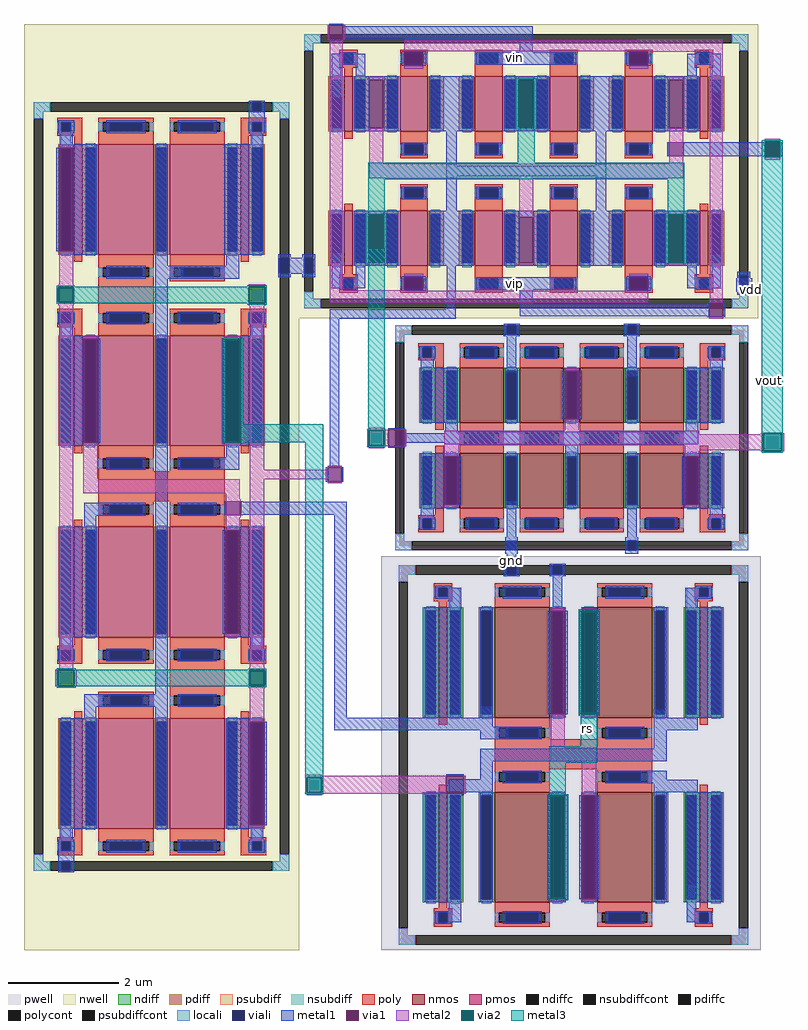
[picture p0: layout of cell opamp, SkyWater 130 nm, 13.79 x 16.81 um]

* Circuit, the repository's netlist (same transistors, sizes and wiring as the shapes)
** sch_path: /home/nsptrq/opamp/mag/opamp.sch
.subckt opamp vip vin vout rs vdd gnd
*.PININFO vip:B vin:B vout:B rs:B vdd:B gnd:B
x1 vdd net1 net2 net3 pmoscs
x2 net2 net3 rs gnd nmoscs
x3 net1 vin vip net4 vdd vout pmosout
x4 vout net4 gnd nmosout
.ends

* expanding   symbol:  pmoscs.sym # of pins=4
** sym_path: /home/nsptrq/opamp/mag/pmoscs.sym
** sch_path: /home/nsptrq/opamp/mag/pmoscs.sch
.subckt pmoscs vdd D5 D1 D2
*.PININFO vdd:B D5:B D2:B D1:B
XM1 D1 D2 vdd vdd sky130_fd_pr__pfet_01v8 L=1 W=2 nf=1 m=2
XM2 D2 D2 vdd vdd sky130_fd_pr__pfet_01v8 L=1 W=2 nf=1 m=2
XM5 D5 D2 vdd vdd sky130_fd_pr__pfet_01v8 L=1 W=2 nf=1 m=2
XM3 vdd vdd vdd vdd sky130_fd_pr__pfet_01v8 L=0.15 W=2 nf=1 m=2
XM4 D1 D1 D1 vdd sky130_fd_pr__pfet_01v8 L=0.15 W=2 nf=1 m=2
XM6 D2 D2 D2 vdd sky130_fd_pr__pfet_01v8 L=0.15 W=2 nf=1 m=2
XM7 D5 D5 D5 vdd sky130_fd_pr__pfet_01v8 L=0.15 W=2 nf=1 m=2
XM8 vdd vdd vdd vdd sky130_fd_pr__pfet_01v8 L=1 W=2 nf=1 m=2
.ends


* expanding   symbol:  nmoscs.sym # of pins=4
** sym_path: /home/nsptrq/opamp/mag/nmoscs.sym
** sch_path: /home/nsptrq/opamp/mag/nmoscs.sch
.subckt nmoscs D3 D4 rs GND
*.PININFO rs:B D3:B GND:B D4:B
XM4 D4 D3 rs GND sky130_fd_pr__nfet_01v8 L=1 W=2 nf=1 m=2
XM3 D3 D3 GND GND sky130_fd_pr__nfet_01v8 L=1 W=2 nf=1 m=2
XM1 D3 D3 D3 GND sky130_fd_pr__nfet_01v8 L=0.15 W=2 nf=1 m=2
XM2 D4 D4 D4 GND sky130_fd_pr__nfet_01v8 L=0.15 W=2 nf=1 m=2
.ends


* expanding   symbol:  pmosout.sym # of pins=6
** sym_path: /home/nsptrq/opamp/mag/pmosout.sym
** sch_path: /home/nsptrq/opamp/mag/pmosout.sch
.subckt pmosout s67 vin vip D6 vdd vout
*.PININFO vin:I vip:I vdd:B vout:B s67:B D6:B
XM6 D6 vin s67 vdd sky130_fd_pr__pfet_01v8 L=0.5 W=1 nf=1 m=4
XM7 vout vip s67 vdd sky130_fd_pr__pfet_01v8 L=0.5 W=1 nf=1 m=4
XM1 D6 D6 D6 vdd sky130_fd_pr__pfet_01v8 L=0.15 W=1 nf=1 m=2
XM2 vout vout vout vdd sky130_fd_pr__pfet_01v8 L=0.15 W=1 nf=1 m=2
.ends


* expanding   symbol:  nmosout.sym # of pins=3
** sym_path: /home/nsptrq/opamp/mag/nmosout.sym
** sch_path: /home/nsptrq/opamp/mag/nmosout.sch
.subckt nmosout vout D8 gnd
*.PININFO gnd:B vout:B D8:B
XM9 vout D8 gnd gnd sky130_fd_pr__nfet_01v8 L=0.8 W=1 nf=1 m=4
XM8 D8 D8 gnd gnd sky130_fd_pr__nfet_01v8 L=0.8 W=1 nf=1 m=4
XM1 vout vout vout gnd sky130_fd_pr__nfet_01v8 L=0.15 W=1 nf=1 m=2
XM2 D8 D8 D8 gnd sky130_fd_pr__nfet_01v8 L=0.15 W=1 nf=1 m=2
.ends

.end

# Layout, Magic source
magic
tech sky130A
magscale 1 2
<< nwell >>
rect -725 3938 255 4202
rect 1048 4076 1057 4087
rect 1042 3238 1062 3284
rect -725 842 273 1095
<< viali >>
rect 203 3296 237 3355
rect 291 3296 325 3355
rect 1027 2205 1061 2239
<< metal1 >>
rect 1048 4076 1057 4087
rect 1609 3722 1615 3774
rect 1667 3722 1964 3774
rect 2016 3722 2026 3774
rect 197 3355 243 3367
rect 285 3355 331 3367
rect 197 3296 203 3355
rect 237 3296 291 3355
rect 325 3296 331 3355
rect 197 3284 243 3296
rect 285 3284 331 3296
rect 808 3167 842 3388
rect 1042 3238 1062 3284
rect 1859 3232 1917 3281
rect 385 3133 842 3167
rect -4 2684 6 3060
rect 58 2684 68 3060
rect 385 2594 419 3133
rect 596 2731 656 2737
rect 656 2684 848 2718
rect 596 2665 656 2671
rect 370 2542 376 2594
rect 428 2542 434 2594
rect 4 2420 10 2472
rect 62 2469 68 2472
rect 62 2423 446 2469
rect 62 2420 68 2423
rect 400 1686 446 2423
rect 1027 2245 1061 2327
rect 1015 2239 1073 2245
rect 1015 2205 1027 2239
rect 1061 2205 1073 2239
rect 1015 2199 1073 2205
rect 400 1640 862 1686
rect 806 1475 871 1481
rect 806 1404 871 1410
<< via1 >>
rect 1615 3722 1667 3774
rect 1964 3722 2016 3774
rect 6 2684 58 3060
rect 596 2671 656 2731
rect 376 2542 428 2594
rect 10 2420 62 2472
rect 806 1410 871 1475
<< metal2 >>
rect 1615 3774 1667 3780
rect 1615 3716 1667 3722
rect 1962 3776 2018 3786
rect 1962 3710 2018 3720
rect 4 3060 60 3070
rect 525 2731 581 2738
rect 4 2674 60 2684
rect 523 2729 596 2731
rect 523 2673 525 2729
rect 581 2673 596 2729
rect 523 2671 596 2673
rect 656 2671 662 2731
rect 1948 2715 1957 2718
rect 525 2664 581 2671
rect 1674 2656 1957 2715
rect 1948 2652 1957 2656
rect 2023 2652 2032 2718
rect 376 2594 428 2600
rect 103 2551 376 2585
rect 376 2536 428 2542
rect 10 2472 62 2478
rect 10 2414 62 2420
rect 300 1475 356 1479
rect 296 1470 806 1475
rect 296 1414 300 1470
rect 356 1414 806 1470
rect 296 1410 806 1414
rect 871 1410 877 1475
rect 300 1405 356 1410
<< via2 >>
rect 1962 3774 2018 3776
rect 1962 3722 1964 3774
rect 1964 3722 2016 3774
rect 2016 3722 2018 3774
rect 1962 3720 2018 3722
rect 4 2684 6 3060
rect 6 2684 58 3060
rect 58 2684 60 3060
rect 525 2673 581 2729
rect 1957 2652 2023 2718
rect 300 1414 356 1470
<< metal3 >>
rect 1952 3776 2028 3781
rect 1952 3720 1962 3776
rect 2018 3720 2028 3776
rect -6 3060 70 3065
rect -6 2684 4 3060
rect 60 2750 70 3060
rect 60 2685 360 2750
rect 523 2734 583 3387
rect 60 2684 70 2685
rect -6 2679 70 2684
rect 295 1475 360 2685
rect 520 2729 586 2734
rect 520 2673 525 2729
rect 581 2673 586 2729
rect 520 2668 586 2673
rect 1952 2718 2028 3720
rect 1952 2652 1957 2718
rect 2023 2652 2028 2718
rect 1952 2647 2028 2652
rect 1302 1628 1338 1668
rect 295 1470 361 1475
rect 295 1414 300 1470
rect 356 1414 361 1470
rect 295 1409 361 1414
use nmoscs  nmoscs_0
transform 1 0 924 0 1 1628
box -353 -785 1023 644
use nmosout  nmosout_0
transform 1 0 797 0 1 2358
box -176 -77 1106 757
use pmoscs  pmoscs_0
transform 1 0 -559 0 1 1202
box -166 -107 832 2753
use pmosout  pmosout_0
transform 1 0 545 0 1 3225
box -290 -91 1394 979
<< labels >>
flabel metal3 1320 1648 1320 1648 0 FreeSans 1600 0 0 0 rs
port 0 nsew
flabel metal1 1043 2258 1043 2258 0 FreeSans 1600 0 0 0 gnd
port 1 nsew
flabel metal3 1980 2909 1980 2909 0 FreeSans 1600 0 0 0 vout
port 2 nsew
flabel metal1 1914 3241 1914 3241 0 FreeSans 1600 0 0 0 vdd
port 3 nsew
flabel metal1 1055 3262 1055 3262 0 FreeSans 1600 0 0 0 vip
port 4 nsew
flabel metal1 1053 4082 1053 4082 0 FreeSans 1600 0 0 0 vin
port 5 nsew
<< end >>

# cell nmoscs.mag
magic
tech sky130A
magscale 1 2
<< pwell >>
rect -353 -785 1023 644
<< psubdiff >>
rect -290 577 -230 611
rect 918 577 978 611
rect -290 551 -256 577
rect 944 551 978 577
rect -290 -731 -256 -705
rect 944 -731 978 -705
rect -290 -765 -230 -731
rect 918 -765 978 -731
<< psubdiffcont >>
rect -230 577 918 611
rect -290 -705 -256 551
rect 944 -705 978 551
rect -230 -765 918 -731
<< poly >>
rect 58 -129 630 -20
<< locali >>
rect -290 577 -230 611
rect 918 577 978 611
rect -290 551 -256 577
rect 944 551 978 577
rect -102 458 -68 530
rect 756 458 790 530
rect 756 -684 790 -552
rect -290 -731 -256 -705
rect 944 -731 978 -705
rect -290 -765 -230 -731
rect 918 -765 978 -731
<< viali >>
rect 270 577 304 611
<< metal1 >>
rect 258 611 316 617
rect 258 577 270 611
rect 304 577 316 611
rect 258 571 316 577
rect -108 458 -62 530
rect -196 58 -62 458
rect 270 446 304 571
rect 750 458 796 530
rect 6 58 52 98
rect 251 70 261 446
rect 313 70 323 446
rect 365 70 375 446
rect 427 70 437 446
rect -108 26 52 58
rect 636 58 682 87
rect 750 58 884 458
rect -108 12 108 26
rect 6 -20 108 12
rect 636 12 796 58
rect 636 -54 682 12
rect 6 -100 682 -54
rect 6 -166 52 -100
rect -108 -212 52 -166
rect 595 -167 682 -134
rect 595 -180 796 -167
rect -196 -612 -62 -212
rect 6 -214 52 -212
rect 636 -212 796 -180
rect 636 -213 884 -212
rect 251 -600 261 -224
rect 313 -600 323 -224
rect 365 -600 375 -224
rect 427 -600 437 -224
rect 750 -612 884 -213
rect -108 -684 -62 -612
rect 756 -684 790 -612
<< via1 >>
rect 261 70 313 446
rect 375 70 427 446
rect 261 -600 313 -224
rect 375 -600 427 -224
<< metal2 >>
rect 261 446 313 456
rect 261 -50 313 70
rect 373 446 429 456
rect 373 60 429 70
rect 261 -102 427 -50
rect 259 -224 315 -214
rect 259 -610 315 -600
rect 375 -224 427 -102
rect 375 -610 427 -600
<< via2 >>
rect 373 70 375 446
rect 375 70 427 446
rect 427 70 429 446
rect 259 -600 261 -224
rect 261 -600 313 -224
rect 313 -600 315 -224
<< metal3 >>
rect 363 446 439 451
rect 363 70 373 446
rect 429 70 439 446
rect 363 65 439 70
rect 371 -46 431 65
rect 257 -106 431 -46
rect 257 -219 317 -106
rect 249 -224 325 -219
rect 249 -600 259 -224
rect 315 -600 325 -224
rect 249 -605 325 -600
use sky130_fd_pr__nfet_01v8_7CP4KT  sky130_fd_pr__nfet_01v8_7CP4KT_0
transform 1 0 -129 0 1 289
box -73 -257 73 257
use sky130_fd_pr__nfet_01v8_7CP4KT  sky130_fd_pr__nfet_01v8_7CP4KT_1
transform 1 0 817 0 1 289
box -73 -257 73 257
use sky130_fd_pr__nfet_01v8_7CYQ2Z  sky130_fd_pr__nfet_01v8_7CYQ2Z_0
transform 1 0 -129 0 1 -443
box -73 -257 73 257
use sky130_fd_pr__nfet_01v8_7CYQ2Z  sky130_fd_pr__nfet_01v8_7CYQ2Z_1
transform 1 0 817 0 1 -443
box -73 -257 73 257
use sky130_fd_pr__nfet_01v8_8UMB6F  sky130_fd_pr__nfet_01v8_8UMB6F_0
transform 1 0 344 0 1 -412
box -344 -288 344 288
use sky130_fd_pr__nfet_01v8_8UMB6F  sky130_fd_pr__nfet_01v8_8UMB6F_1
transform 1 0 344 0 1 258
box -344 -288 344 288
<< labels >>
flabel metal1 290 566 290 566 0 FreeSans 1600 0 0 0 GND
port 0 nsew
flabel metal1 -110 124 -110 124 0 FreeSans 1600 0 0 0 D3
port 1 nsew
flabel metal1 -106 -340 -106 -340 0 FreeSans 1600 0 0 0 D4
port 2 nsew
flabel metal3 276 -210 276 -210 0 FreeSans 1600 0 0 0 RS
port 3 nsew
<< end >>

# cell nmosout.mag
magic
tech sky130A
magscale 1 2
<< pwell >>
rect -159 -48 1089 734
<< psubdiff >>
rect -176 717 -116 751
rect 1046 717 1106 751
rect -176 691 -142 717
rect 1072 691 1106 717
rect -176 -31 -142 -5
rect 1072 -31 1106 -5
rect -176 -65 -116 -31
rect 1046 -65 1106 -31
<< psubdiffcont >>
rect -116 717 1046 751
rect -176 -5 -142 691
rect 1072 -5 1106 691
rect -116 -65 1046 -31
<< poly >>
rect -92 670 0 686
rect -92 636 -76 670
rect -42 636 0 670
rect -92 624 0 636
rect 930 670 1022 686
rect 930 636 972 670
rect 1006 636 1022 670
rect 930 624 1022 636
rect -92 50 0 62
rect -92 16 -76 50
rect -42 16 0 50
rect -92 0 0 16
rect 930 50 1022 66
rect 930 16 972 50
rect 1006 16 1022 50
rect 930 0 1022 16
<< polycont >>
rect -76 636 -42 670
rect 972 636 1006 670
rect -76 16 -42 50
rect 972 16 1006 50
<< locali >>
rect -176 717 -116 751
rect 1046 717 1106 751
rect -176 691 -142 717
rect 1072 691 1106 717
rect -92 636 -76 670
rect -42 636 -26 670
rect 956 636 972 670
rect 1006 636 1022 670
rect -92 16 -76 50
rect -42 16 -26 50
rect 956 16 972 50
rect 1006 16 1022 50
rect -176 -31 -142 -5
rect 1072 -31 1106 -5
rect -176 -65 -116 -31
rect 1046 -65 1106 -31
<< viali >>
rect 230 717 264 751
rect 666 717 700 751
rect -76 636 -42 670
rect 972 636 1006 670
rect -76 16 -42 50
rect 972 16 1006 50
rect 230 -31 264 -30
rect 666 -31 700 -30
rect 230 -65 264 -31
rect 666 -65 700 -31
<< metal1 >>
rect 218 751 276 757
rect 218 717 230 751
rect 264 717 276 751
rect 218 711 276 717
rect 654 751 712 757
rect 654 717 666 751
rect 700 717 712 751
rect 654 711 712 717
rect -88 670 -30 676
rect -88 636 -76 670
rect -42 636 -30 670
rect -88 630 -30 636
rect -82 598 -36 630
rect -82 398 52 598
rect 230 581 264 711
rect 429 410 439 586
rect 491 410 501 586
rect 666 566 700 711
rect 960 670 1018 676
rect 960 636 972 670
rect 1006 636 1018 670
rect 960 630 1018 636
rect 966 598 1012 630
rect 6 366 52 398
rect 878 398 1012 598
rect 878 366 924 398
rect 6 320 924 366
rect -82 276 52 288
rect -82 100 3 276
rect 55 100 65 276
rect 442 273 488 320
rect 872 276 1012 288
rect -82 88 52 100
rect -82 56 -36 88
rect -88 50 -30 56
rect -88 16 -76 50
rect -42 16 -30 50
rect -88 10 -30 16
rect 230 -18 264 114
rect 666 -18 700 101
rect 865 100 875 276
rect 927 100 1012 276
rect 872 88 1012 100
rect 966 56 1012 88
rect 960 50 1018 56
rect 960 16 972 50
rect 1006 16 1018 50
rect 960 10 1018 16
rect 224 -30 270 -18
rect 224 -65 230 -30
rect 264 -65 270 -30
rect 224 -77 270 -65
rect 660 -30 706 -18
rect 660 -65 666 -30
rect 700 -65 706 -30
rect 660 -77 706 -65
<< via1 >>
rect 439 410 491 586
rect 3 100 55 276
rect 875 100 927 276
<< metal2 >>
rect 439 586 491 596
rect 439 369 491 410
rect 3 317 927 369
rect 3 276 55 317
rect 3 90 55 100
rect 875 276 927 317
rect 875 90 927 100
use sky130_fd_pr__nfet_01v8_6H9P4D  sky130_fd_pr__nfet_01v8_6H9P4D_1
transform 1 0 -15 0 1 188
box -73 -126 73 126
use sky130_fd_pr__nfet_01v8_6H9P4D  sky130_fd_pr__nfet_01v8_6H9P4D_2
transform 1 0 -15 0 1 498
box -73 -126 73 126
use sky130_fd_pr__nfet_01v8_6H9P4D  sky130_fd_pr__nfet_01v8_6H9P4D_3
transform 1 0 945 0 1 498
box -73 -126 73 126
use sky130_fd_pr__nfet_01v8_6H9P4D  sky130_fd_pr__nfet_01v8_6H9P4D_4
transform 1 0 945 0 1 188
box -73 -126 73 126
use sky130_fd_pr__nfet_01v8_YYNGNX  sky130_fd_pr__nfet_01v8_YYNGNX_0
transform 1 0 465 0 1 343
box -465 -343 465 343
<< labels >>
flabel metal2 900 300 900 300 0 FreeSans 1600 0 0 0 vout
port 0 nsew
flabel metal1 249 30 249 30 0 FreeSans 1600 0 0 0 gnd
port 1 nsew
flabel metal1 24 383 24 383 0 FreeSans 1600 0 0 0 D8
port 2 nsew
<< end >>

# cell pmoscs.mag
magic
tech sky130A
magscale 1 2
<< nwell >>
rect -166 -107 832 2753
<< nsubdiff >>
rect -130 2683 -70 2717
rect 736 2683 796 2717
rect -130 2657 -96 2683
rect 762 2657 796 2683
rect -130 -37 -96 -11
rect 762 -37 796 -11
rect -130 -71 -70 -37
rect 736 -71 796 -37
<< nsubdiffcont >>
rect -70 2683 736 2717
rect -130 -11 -96 2657
rect 762 -11 796 2657
rect -70 -71 736 -37
<< poly >>
rect -46 2645 46 2661
rect -46 2611 -30 2645
rect 4 2611 46 2645
rect -46 2595 46 2611
rect 16 2564 46 2595
rect 620 2645 712 2661
rect 620 2611 662 2645
rect 696 2611 712 2645
rect 620 2595 712 2611
rect 620 2588 650 2595
rect -46 1951 46 1967
rect 104 1965 304 2069
rect -46 1917 -30 1951
rect 4 1917 46 1951
rect -46 1901 46 1917
rect 16 1870 46 1901
rect 620 1951 712 1967
rect 620 1917 662 1951
rect 696 1917 712 1951
rect 620 1901 712 1917
rect 620 1870 650 1901
rect 104 1270 562 1379
rect 16 745 46 776
rect -46 729 46 745
rect -46 695 -30 729
rect 4 695 46 729
rect -46 679 46 695
rect 620 745 650 776
rect 620 729 712 745
rect 620 695 662 729
rect 696 695 712 729
rect 362 574 562 684
rect 620 679 712 695
rect 16 51 46 82
rect -46 35 46 51
rect -46 1 -30 35
rect 4 1 46 35
rect -46 -15 46 1
rect 620 51 650 82
rect 620 35 712 51
rect 620 1 662 35
rect 696 1 712 35
rect 620 -15 712 1
<< polycont >>
rect -30 2611 4 2645
rect 662 2611 696 2645
rect -30 1917 4 1951
rect 662 1917 696 1951
rect -30 695 4 729
rect 662 695 696 729
rect -30 1 4 35
rect 662 1 696 35
<< locali >>
rect -130 2683 -70 2717
rect 736 2683 796 2717
rect -130 2657 -96 2683
rect 762 2657 796 2683
rect -46 2611 -30 2645
rect 4 2611 20 2645
rect 646 2611 662 2645
rect 696 2611 712 2645
rect -30 2564 4 2611
rect 662 2566 696 2611
rect -46 1917 -30 1951
rect 4 1917 20 1951
rect 646 1917 662 1951
rect 696 1917 712 1951
rect -30 1870 4 1917
rect 662 1870 696 1917
rect -30 729 4 776
rect 662 729 696 776
rect -46 695 -30 729
rect 4 695 20 729
rect 646 695 662 729
rect 696 695 712 729
rect -30 35 4 82
rect 662 35 696 82
rect -46 1 -30 35
rect 4 1 20 35
rect 646 1 662 35
rect 696 1 712 35
rect -130 -37 -96 -11
rect 762 -37 796 -11
rect -130 -71 -70 -37
rect 736 -71 796 -37
<< viali >>
rect 662 2683 696 2717
rect -30 2611 4 2645
rect 662 2611 696 2645
rect -30 1917 4 1951
rect 662 1917 696 1951
rect -30 695 4 729
rect 662 695 696 729
rect -30 1 4 35
rect 662 1 696 35
rect -30 -71 4 -37
<< metal1 >>
rect 650 2717 708 2723
rect 650 2683 662 2717
rect 696 2683 708 2717
rect -42 2645 16 2651
rect -42 2611 -30 2645
rect 4 2611 16 2645
rect -42 2605 16 2611
rect 650 2645 708 2683
rect 650 2611 662 2645
rect 696 2611 708 2645
rect 650 2605 708 2611
rect -36 2564 10 2605
rect 656 2564 702 2605
rect -36 2552 97 2564
rect -49 2176 -39 2552
rect 13 2176 97 2552
rect -36 2164 97 2176
rect 310 2123 356 2564
rect 560 2557 702 2564
rect 560 2164 693 2557
rect 568 2123 614 2164
rect 310 2077 411 2123
rect 522 2077 614 2123
rect -42 1951 16 1957
rect -42 1917 -30 1951
rect 4 1917 16 1951
rect -42 1911 16 1917
rect -36 1870 10 1911
rect -36 1858 97 1870
rect -36 1482 49 1858
rect 101 1482 111 1858
rect -36 1470 97 1482
rect 52 1217 145 1263
rect 52 1176 97 1217
rect -36 776 97 1176
rect -36 735 10 776
rect -42 729 16 735
rect -42 695 -30 729
rect 4 695 16 729
rect -42 689 16 695
rect 310 569 356 2077
rect 650 1951 708 1957
rect 650 1917 662 1951
rect 696 1917 708 1951
rect 650 1911 708 1917
rect 656 1870 702 1911
rect 568 1470 701 1870
rect 568 1429 614 1470
rect 526 1383 614 1429
rect 568 1164 701 1176
rect 555 788 565 1164
rect 617 788 701 1164
rect 568 776 701 788
rect 656 735 702 776
rect 650 729 708 735
rect 650 695 662 729
rect 696 695 708 729
rect 650 689 708 695
rect 52 523 147 569
rect 264 523 356 569
rect 52 482 97 523
rect -36 82 97 482
rect 310 82 356 523
rect 568 470 701 482
rect 568 94 653 470
rect 705 94 715 470
rect 568 82 701 94
rect -36 41 10 82
rect 656 41 702 82
rect -42 35 16 41
rect -42 1 -30 35
rect 4 1 16 35
rect -42 -37 16 1
rect 650 35 708 41
rect 650 1 662 35
rect 696 1 708 35
rect 650 -5 708 1
rect -42 -71 -30 -37
rect 4 -71 16 -37
rect -42 -77 16 -71
<< via1 >>
rect -39 2176 13 2552
rect 49 1482 101 1858
rect 565 788 617 1164
rect 653 94 705 470
<< metal2 >>
rect -39 2552 13 2562
rect -39 2055 13 2176
rect -42 2046 14 2055
rect -42 1981 14 1990
rect 649 2048 709 2057
rect -39 658 13 1981
rect 649 1979 709 1988
rect 49 1858 101 1868
rect 49 1350 101 1482
rect 49 1298 617 1350
rect 565 1164 617 1298
rect 565 778 617 788
rect 653 665 705 1979
rect -52 598 -43 658
rect 17 598 26 658
rect 652 656 708 665
rect 652 591 708 600
rect 653 470 705 591
rect 653 84 705 94
<< via2 >>
rect -42 1990 14 2046
rect 649 1988 709 2048
rect -43 598 17 658
rect 652 600 708 656
<< metal3 >>
rect -47 2048 19 2051
rect 644 2048 714 2053
rect -47 2046 649 2048
rect -47 1990 -42 2046
rect 14 1990 649 2046
rect -47 1988 649 1990
rect 709 1988 714 2048
rect -47 1985 19 1988
rect 644 1983 714 1988
rect -48 658 22 663
rect 647 658 713 661
rect -48 598 -43 658
rect 17 656 713 658
rect 17 600 652 656
rect 708 600 713 656
rect 17 598 713 600
rect -48 593 22 598
rect 647 595 713 598
use sky130_fd_pr__pfet_01v8_2ZH9AN  sky130_fd_pr__pfet_01v8_2ZH9AN_0
transform 1 0 31 0 1 1670
box -109 -262 109 262
use sky130_fd_pr__pfet_01v8_2ZH9AN  sky130_fd_pr__pfet_01v8_2ZH9AN_1
transform 1 0 31 0 1 282
box -109 -262 109 262
use sky130_fd_pr__pfet_01v8_2ZH9AN  sky130_fd_pr__pfet_01v8_2ZH9AN_2
transform 1 0 635 0 1 282
box -109 -262 109 262
use sky130_fd_pr__pfet_01v8_2ZH9AN  sky130_fd_pr__pfet_01v8_2ZH9AN_3
transform 1 0 635 0 1 976
box -109 -262 109 262
use sky130_fd_pr__pfet_01v8_2ZH9AN  sky130_fd_pr__pfet_01v8_2ZH9AN_4
transform 1 0 31 0 1 976
box -109 -262 109 262
use sky130_fd_pr__pfet_01v8_2ZH9AN  sky130_fd_pr__pfet_01v8_2ZH9AN_5
transform 1 0 635 0 1 1670
box -109 -262 109 262
use sky130_fd_pr__pfet_01v8_2ZH9AN  sky130_fd_pr__pfet_01v8_2ZH9AN_6
transform 1 0 635 0 1 2364
box -109 -262 109 262
use sky130_fd_pr__pfet_01v8_2ZH9AN  sky130_fd_pr__pfet_01v8_2ZH9AN_7
transform 1 0 31 0 1 2364
box -109 -262 109 262
use sky130_fd_pr__pfet_01v8_SDE6B7  sky130_fd_pr__pfet_01v8_SDE6B7_0
transform 1 0 333 0 1 2364
box -323 -300 323 300
use sky130_fd_pr__pfet_01v8_SDE6B7  sky130_fd_pr__pfet_01v8_SDE6B7_1
transform 1 0 333 0 1 1670
box -323 -300 323 300
use sky130_fd_pr__pfet_01v8_SDE6B7  sky130_fd_pr__pfet_01v8_SDE6B7_2
transform 1 0 333 0 1 976
box -323 -300 323 300
use sky130_fd_pr__pfet_01v8_SDE6B7  sky130_fd_pr__pfet_01v8_SDE6B7_3
transform 1 0 333 0 1 282
box -323 -300 323 300
<< labels >>
flabel metal2 76 1394 76 1394 0 FreeSans 320 0 0 0 D1
port 0 nsew
flabel metal1 590 1416 590 1416 0 FreeSans 320 0 0 0 D2
port 1 nsew
flabel metal2 676 1364 676 1364 0 FreeSans 320 0 0 0 D5
port 2 nsew
flabel metal1 678 2670 678 2670 0 FreeSans 320 0 0 0 VDD
port 3 nsew
<< end >>

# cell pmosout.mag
magic
tech sky130A
magscale 1 2
<< nwell >>
rect -290 -89 1394 977
<< nsubdiff >>
rect -254 907 -194 941
rect 1298 907 1358 941
rect -254 881 -220 907
rect -254 -19 -220 7
rect 1324 881 1358 907
rect 1324 -19 1358 7
rect -254 -53 -194 -19
rect 1298 -53 1358 -19
<< nsubdiffcont >>
rect -194 907 1298 941
rect -254 7 -220 881
rect 1324 7 1358 881
rect -194 -53 1298 -19
<< locali >>
rect -254 907 -194 941
rect 1298 907 1358 941
rect -254 881 -220 907
rect -254 -19 -220 7
rect 1324 881 1358 907
rect 1324 -19 1358 7
rect -254 -53 -194 -19
rect 1298 -53 1358 -19
<< viali >>
rect 1324 7 1358 66
<< metal1 >>
rect -163 973 -111 979
rect -111 924 575 970
rect -163 915 -111 921
rect -154 835 -32 869
rect -154 711 -120 835
rect -66 788 -32 835
rect 100 826 110 878
rect 178 826 188 878
rect 529 875 575 924
rect 370 829 734 875
rect 916 826 926 878
rect 994 826 1004 878
rect 1136 835 1258 869
rect 1136 788 1170 835
rect -72 776 88 788
rect -72 600 -18 776
rect 34 600 88 776
rect -72 588 88 600
rect 200 588 360 788
rect 472 776 632 788
rect 472 600 526 776
rect 578 600 632 776
rect 472 588 632 600
rect 744 588 904 788
rect 1016 776 1176 788
rect 1016 600 1070 776
rect 1122 600 1176 776
rect 1224 730 1258 835
rect 1016 588 1176 600
rect 261 463 299 588
rect 805 463 843 588
rect 261 425 843 463
rect 261 300 299 425
rect 805 300 843 425
rect -72 288 88 300
rect -154 53 -120 146
rect -72 112 -18 288
rect 34 112 88 288
rect -72 100 88 112
rect 200 100 360 300
rect 472 277 632 300
rect 472 112 526 277
rect 578 112 632 277
rect 472 100 632 112
rect 744 100 904 300
rect 1016 288 1176 300
rect 1016 112 1070 288
rect 1122 112 1176 288
rect 1016 100 1176 112
rect -66 53 -32 100
rect -154 19 -32 53
rect 100 10 110 62
rect 178 10 188 62
rect 370 13 734 59
rect 529 -36 575 13
rect 916 10 926 62
rect 994 10 1004 62
rect 1136 53 1170 100
rect 1224 53 1258 143
rect 1136 19 1258 53
rect 1318 66 1364 78
rect 1318 7 1324 66
rect 1358 7 1364 66
rect 1318 -5 1364 7
rect 1209 -36 1215 -33
rect 529 -82 1215 -36
rect 1209 -85 1215 -82
rect 1267 -85 1273 -33
<< via1 >>
rect -163 921 -111 973
rect 110 826 178 878
rect 926 826 994 878
rect -18 600 34 776
rect 526 600 578 776
rect 1070 600 1122 776
rect -18 112 34 288
rect 526 112 578 277
rect 1070 112 1122 288
rect 110 10 178 62
rect 926 10 994 62
rect 1215 -85 1267 -33
<< metal2 >>
rect -169 921 -163 973
rect -111 921 -105 973
rect 955 921 1264 923
rect -160 12 -114 921
rect 110 878 1264 921
rect 110 816 178 826
rect 994 877 1264 878
rect 926 816 994 826
rect -18 776 34 786
rect -18 470 34 600
rect 524 776 580 786
rect 524 590 580 600
rect 1070 776 1122 786
rect 1070 470 1122 600
rect -18 418 1122 470
rect -20 288 36 298
rect -20 102 36 112
rect 526 277 578 418
rect 526 102 578 112
rect 1068 288 1124 298
rect 1068 102 1124 112
rect 110 62 178 72
rect -160 10 110 12
rect 926 62 994 72
rect -160 -33 994 10
rect 1218 -27 1264 877
rect 1215 -33 1267 -27
rect -160 -34 178 -33
rect 1215 -91 1267 -85
<< via2 >>
rect 524 600 526 776
rect 526 600 578 776
rect 578 600 580 776
rect -20 112 -18 288
rect -18 112 34 288
rect 34 112 36 288
rect 1068 112 1070 288
rect 1070 112 1122 288
rect 1122 112 1124 288
<< metal3 >>
rect 514 776 590 781
rect 514 600 524 776
rect 580 600 590 776
rect 514 595 590 600
rect 522 474 582 595
rect -22 414 1126 474
rect -22 293 38 414
rect 1066 293 1126 414
rect -30 288 46 293
rect -30 112 -20 288
rect 36 112 46 288
rect -30 107 46 112
rect 1058 288 1134 293
rect 1058 112 1068 288
rect 1124 112 1134 288
rect 1058 107 1134 112
use sky130_fd_pr__pfet_01v8_BH5GQ5  sky130_fd_pr__pfet_01v8_BH5GQ5_0
transform 1 0 552 0 1 688
box -552 -200 552 200
use sky130_fd_pr__pfet_01v8_BH5GQ5  sky130_fd_pr__pfet_01v8_BH5GQ5_1
transform 1 0 552 0 1 200
box -552 -200 552 200
use sky130_fd_pr__pfet_01v8_LA8JHL  sky130_fd_pr__pfet_01v8_LA8JHL_0
transform 1 0 -93 0 1 164
box -109 -164 109 198
use sky130_fd_pr__pfet_01v8_LA8JHL  sky130_fd_pr__pfet_01v8_LA8JHL_1
transform 1 0 1197 0 1 164
box -109 -164 109 198
use sky130_fd_pr__pfet_01v8_MA8JHN  sky130_fd_pr__pfet_01v8_MA8JHN_0
transform 1 0 -93 0 1 724
box -109 -198 109 164
use sky130_fd_pr__pfet_01v8_MA8JHN  sky130_fd_pr__pfet_01v8_MA8JHN_1
transform 1 0 1197 0 1 724
box -109 -198 109 164
<< labels >>
flabel metal2 13 514 13 514 0 FreeSans 1600 0 0 0 VOUT
port 0 nsew
flabel viali 1345 33 1345 33 0 FreeSans 1600 0 0 0 VDD
port 1 nsew
flabel metal1 545 36 545 36 0 FreeSans 1600 0 0 0 VIP
port 2 nsew
flabel metal1 549 850 549 850 0 FreeSans 1600 0 0 0 VIN
port 3 nsew
flabel metal3 1098 358 1098 358 0 FreeSans 1600 0 0 0 D6
port 4 nsew
flabel metal1 279 341 279 341 0 FreeSans 1600 0 0 0 s67
port 5 nsew
<< end >>

# cell sky130_fd_pr__pfet_01v8_BH5GQ5: kit device sky130_fd_pr__pfet_01v8, w 1 l 0.5 m 1 nf 4 diffcov 100 polycov 100 guard 0 glc 1 grc 1 gtc 1 gbc 1 tbcov 100 rlcov 100 topc 1 botc 1 poverlap 0 doverlap 0 lmin 0.15 wmin 0.42 compatible {sky130_fd_pr__pfet_01v8 sky130_fd_pr__pfet_01v8_lvt sky130_fd_pr__pfet_01v8_hvt sky130_fd_pr__pfet_g5v0d10v5} full_metal 1 viasrc 100 viadrn 100 viagate 100 viagb 0 viagr 0 viagl 0 viagt 0

# cell sky130_fd_pr__pfet_01v8_LA8JHL: kit device sky130_fd_pr__pfet_01v8, w 1 l 0.15 m 1 nf 1 diffcov 100 polycov 100 guard 0 glc 1 grc 1 gtc 1 gbc 1 tbcov 100 rlcov 100 topc 0 botc 1 poverlap 0 doverlap 1 lmin 0.15 wmin 0.42 compatible {sky130_fd_pr__pfet_01v8 sky130_fd_pr__pfet_01v8_lvt sky130_fd_pr__pfet_01v8_hvt sky130_fd_pr__pfet_g5v0d10v5} full_metal 1 viasrc 100 viadrn 100 viagate 100 viagb 0 viagr 0 viagl 0 viagt 0

# cell sky130_fd_pr__pfet_01v8_MA8JHN: kit device sky130_fd_pr__pfet_01v8, w 1 l 0.15 m 1 nf 1 diffcov 100 polycov 100 guard 0 glc 1 grc 1 gtc 1 gbc 1 tbcov 100 rlcov 100 topc 1 botc 0 poverlap 0 doverlap 1 lmin 0.15 wmin 0.42 compatible {sky130_fd_pr__pfet_01v8 sky130_fd_pr__pfet_01v8_lvt sky130_fd_pr__pfet_01v8_hvt sky130_fd_pr__pfet_g5v0d10v5} full_metal 1 viasrc 100 viadrn 100 viagate 100 viagb 0 viagr 0 viagl 0 viagt 0

# cell sky130_fd_pr__pfet_01v8_2ZH9AN: kit device sky130_fd_pr__pfet_01v8, w 2 l 0.15 m 1 nf 1 diffcov 100 polycov 100 guard 0 glc 1 grc 1 gtc 1 gbc 1 tbcov 100 rlcov 100 topc 0 botc 0 poverlap 0 doverlap 1 lmin 0.15 wmin 0.42 compatible {sky130_fd_pr__pfet_01v8 sky130_fd_pr__pfet_01v8_lvt sky130_fd_pr__pfet_01v8_hvt sky130_fd_pr__pfet_g5v0d10v5} full_metal 1 viasrc 100 viadrn 100 viagate 100 viagb 0 viagr 0 viagl 0 viagt 0

# cell sky130_fd_pr__pfet_01v8_SDE6B7: kit device sky130_fd_pr__pfet_01v8, w 2 l 1 m 1 nf 2 diffcov 100 polycov 100 guard 0 glc 1 grc 1 gtc 1 gbc 1 tbcov 100 rlcov 100 topc 1 botc 1 poverlap 0 doverlap 1 lmin 0.15 wmin 0.42 compatible {sky130_fd_pr__pfet_01v8 sky130_fd_pr__pfet_01v8_lvt sky130_fd_pr__pfet_01v8_hvt sky130_fd_pr__pfet_g5v0d10v5} full_metal 1 viasrc 100 viadrn 100 viagate 70 viagb 0 viagr 0 viagl 0 viagt 0

# cell sky130_fd_pr__nfet_01v8_6H9P4D: kit device sky130_fd_pr__nfet_01v8, w 1 l 0.150 m 1 nf 1 diffcov 100 polycov 100 guard 0 glc 1 grc 1 gtc 1 gbc 1 tbcov 100 rlcov 100 topc 0 botc 0 poverlap 0 doverlap 1 lmin 0.15 wmin 0.42 compatible {sky130_fd_pr__nfet_01v8 sky130_fd_pr__nfet_01v8_lvt sky130_fd_bs_flash__special_sonosfet_star sky130_fd_pr__nfet_g5v0d10v5 sky130_fd_pr__nfet_05v0_nvt sky130_fd_pr__nfet_03v3_nvt} full_metal 1 viasrc 100 viadrn 100 viagate 100 viagb 0 viagr 0 viagl 0 viagt 0

# cell sky130_fd_pr__nfet_01v8_YYNGNX: kit device sky130_fd_pr__nfet_01v8, w 1 l 0.8 m 2 nf 4 diffcov 100 polycov 100 guard 0 glc 1 grc 1 gtc 1 gbc 1 tbcov 100 rlcov 100 topc 1 botc 1 poverlap 1 doverlap 1 lmin 0.15 wmin 0.42 compatible {sky130_fd_pr__nfet_01v8 sky130_fd_pr__nfet_01v8_lvt sky130_fd_bs_flash__special_sonosfet_star sky130_fd_pr__nfet_g5v0d10v5 sky130_fd_pr__nfet_05v0_nvt sky130_fd_pr__nfet_03v3_nvt} full_metal 1 viasrc 100 viadrn 100 viagate 70 viagb 0 viagr 0 viagl 0 viagt 0

# cell sky130_fd_pr__nfet_01v8_7CP4KT: kit device sky130_fd_pr__nfet_01v8, w 2 l 0.150 m 1 nf 1 diffcov 100 polycov 100 guard 0 glc 1 grc 1 gtc 1 gbc 1 tbcov 100 rlcov 100 topc 1 botc 0 poverlap 0 doverlap 0 lmin 0.15 wmin 0.42 compatible {sky130_fd_pr__nfet_01v8 sky130_fd_pr__nfet_01v8_lvt sky130_fd_bs_flash__special_sonosfet_star sky130_fd_pr__nfet_g5v0d10v5 sky130_fd_pr__nfet_05v0_nvt sky130_fd_pr__nfet_03v3_nvt} full_metal 1 viasrc 100 viadrn 100 viagate 100 viagb 0 viagr 0 viagl 0 viagt 0

# cell sky130_fd_pr__nfet_01v8_7CYQ2Z: kit device sky130_fd_pr__nfet_01v8, w 2 l 0.150 m 1 nf 1 diffcov 100 polycov 100 guard 0 glc 1 grc 1 gtc 1 gbc 1 tbcov 100 rlcov 100 topc 0 botc 1 poverlap 0 doverlap 0 lmin 0.15 wmin 0.42 compatible {sky130_fd_pr__nfet_01v8 sky130_fd_pr__nfet_01v8_lvt sky130_fd_bs_flash__special_sonosfet_star sky130_fd_pr__nfet_g5v0d10v5 sky130_fd_pr__nfet_05v0_nvt sky130_fd_pr__nfet_03v3_nvt} full_metal 1 viasrc 100 viadrn 100 viagate 100 viagb 0 viagr 0 viagl 0 viagt 0

# cell sky130_fd_pr__nfet_01v8_8UMB6F: kit device sky130_fd_pr__nfet_01v8, w 2 l 1 m 1 nf 2 diffcov 100 polycov 100 guard 0 glc 1 grc 1 gtc 1 gbc 1 tbcov 100 rlcov 100 topc 1 botc 1 poverlap 0 doverlap 0 lmin 0.15 wmin 0.42 compatible {sky130_fd_pr__nfet_01v8 sky130_fd_pr__nfet_01v8_lvt sky130_fd_bs_flash__special_sonosfet_star sky130_fd_pr__nfet_g5v0d10v5 sky130_fd_pr__nfet_05v0_nvt sky130_fd_pr__nfet_03v3_nvt} full_metal 1 viasrc 100 viadrn 100 viagate 70 viagb 0 viagr 0 viagl 0 viagt 0
